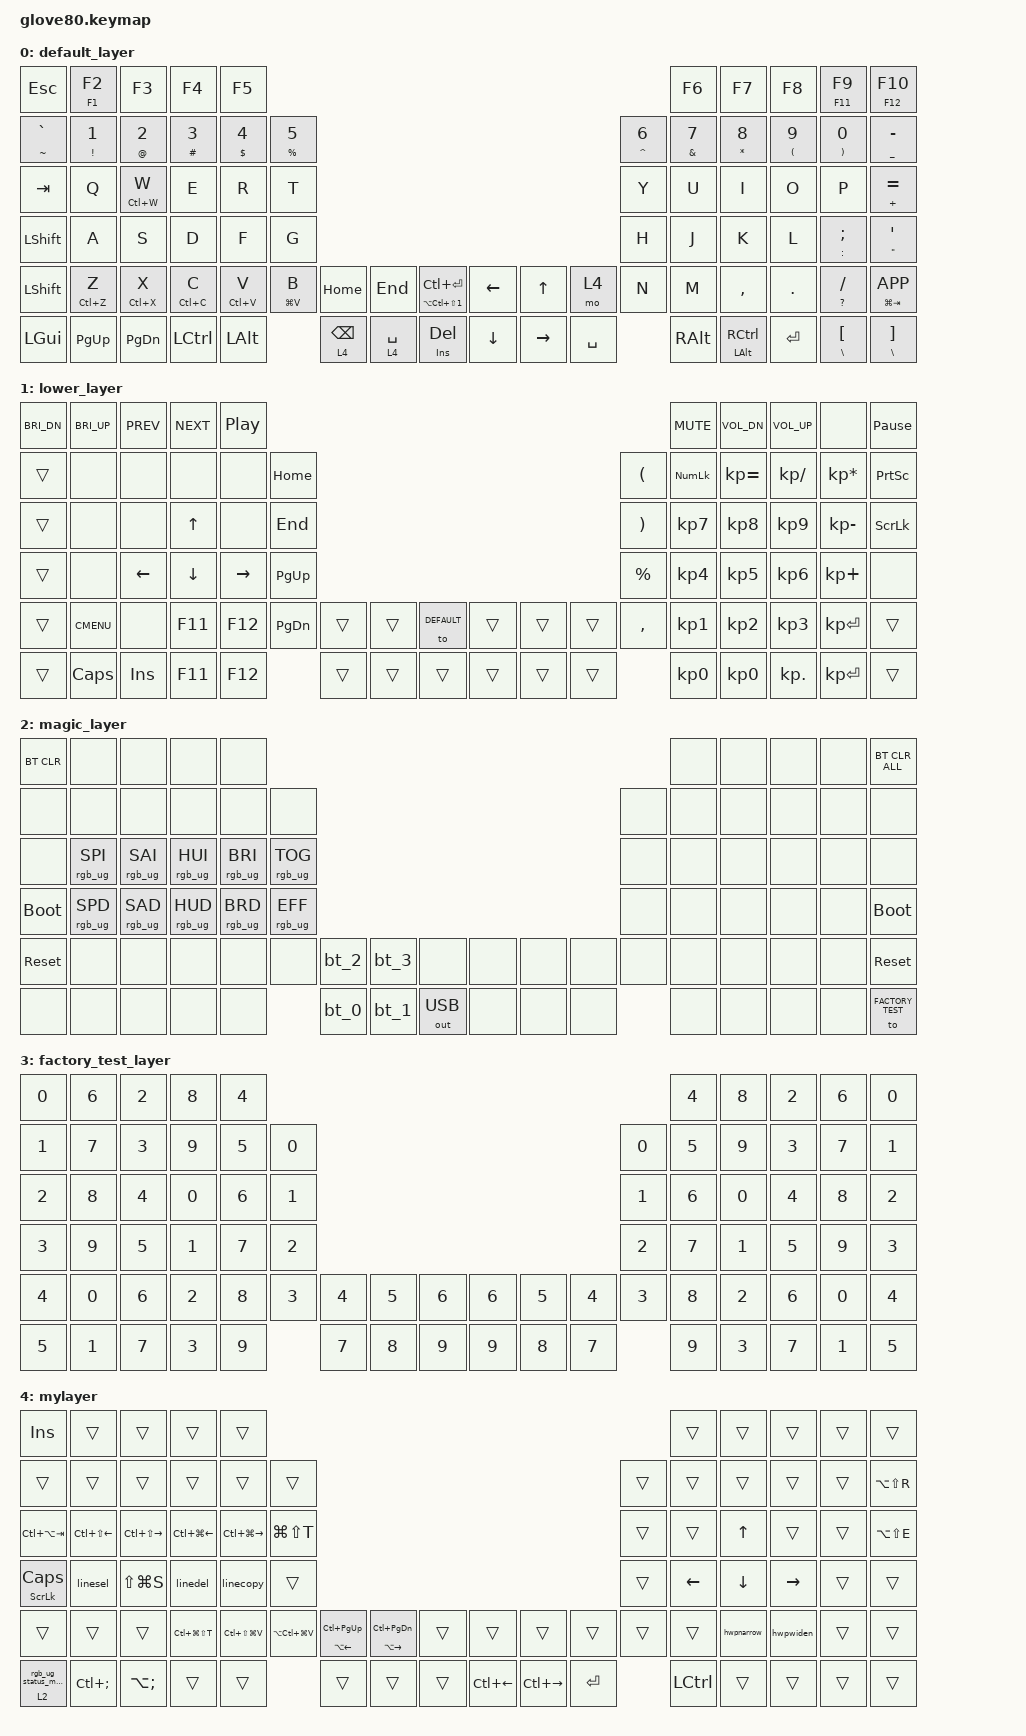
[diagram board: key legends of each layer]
/*
 * Copyright (c) 2020 The ZMK Contributors
 *
 * SPDX-License-Identifier: MIT
 */

#include <behaviors.dtsi>
#include <dt-bindings/zmk/bt.h>
#include <dt-bindings/zmk/keys.h>
#include <dt-bindings/zmk/outputs.h>
#include <dt-bindings/zmk/rgb.h>

#define HYPER LC(LS(LG(LALT)))

// layers

#define DEFAULT 0
#define LOWER 1
#define MAGIC 2
#define FACTORY_TEST 3

&lt {
    tapping-term-ms = <150>;
    quick-tap-ms = <200>;
    flavor = "balanced";
};

/ {
    behaviors {
        // For the "layer" key, it'd nice to be able to use it as either a shift or a toggle.
        // Configure it as a tap dance, so the first tap (or hold) is a &mo and the second tap is a &to

        layer_td: tap_dance_0 {
            compatible = "zmk,behavior-tap-dance";
            label = "LAYER_TAP_DANCE";
            #binding-cells = <0>;
            tapping-term-ms = <200>;
            bindings = <&mo LOWER>, <&to LOWER>;
        };

        magic: magic_hold_tap {
            compatible = "zmk,behavior-hold-tap";
            label = "MAGIC_HOLD_TAP";
            #binding-cells = <2>;
            flavor = "tap-preferred";
            tapping-term-ms = <300>;
            bindings = <&mo>, <&rgb_ug_status_macro>;
        };

        hm: homerow_mods {
            compatible = "zmk,behavior-hold-tap";
            label = "HOMEROW_MODS";
            bindings = <&kp>, <&kp>;

            #binding-cells = <2>;
            tapping-term-ms = <250>;
            flavor = "tap-preferred";
            quick-tap-ms = <0>;
        };

        td_txtsel_l: td_txtsel_l {
            compatible = "zmk,behavior-tap-dance";
            label = "TD_TXTSEL_L";
            #binding-cells = <0>;
            bindings = <&kp LS(LC(LEFT))>, <&txtsel_l>;

            tapping-term-ms = <80>;
        };

        td_txtsel_r: td_txtsel_r {
            compatible = "zmk,behavior-tap-dance";
            label = "TD_TXTSEL_R";
            #binding-cells = <0>;
            bindings = <&kp LS(LC(RIGHT))>, <&txtsel_r>;

            tapping-term-ms = <80>;
        };

        td_scaps: td_scaps {
            compatible = "zmk,behavior-tap-dance";
            label = "TD_SCAPS";
            #binding-cells = <0>;
            tapping-term-ms = <200>;
            bindings = <&kp LSHIFT>, <&kp CAPSLOCK>;
        };
    };

    macros {
        rgb_ug_status_macro: rgb_ug_status_macro_0 {
            label = "RGB_UG_STATUS";
            compatible = "zmk,behavior-macro";
            #binding-cells = <0>;
            bindings = <&rgb_ug RGB_STATUS>;
        };

        bt_0: bt_profile_macro_0 {
            label = "BT_0";
            compatible = "zmk,behavior-macro";
            #binding-cells = <0>;
            bindings = <&out OUT_BLE &bt BT_SEL 0>;
        };

        bt_1: bt_profile_macro_1 {
            label = "BT_1";
            compatible = "zmk,behavior-macro";
            #binding-cells = <0>;
            bindings = <&out OUT_BLE &bt BT_SEL 1>;
        };

        bt_2: bt_profile_macro_2 {
            label = "BT_2";
            compatible = "zmk,behavior-macro";
            #binding-cells = <0>;
            bindings = <&out OUT_BLE &bt BT_SEL 2>;
        };

        bt_3: bt_profile_macro_3 {
            label = "BT_3";
            compatible = "zmk,behavior-macro";
            #binding-cells = <0>;
            bindings = <&out OUT_BLE &bt BT_SEL 3>;
        };

        linesel: linesel {
            compatible = "zmk,behavior-macro";
            #binding-cells = <0>;
            bindings = <&kp END &kp LS(HOME)>;
            label = "LINESEL";
        };

        linedel: linedel {
            compatible = "zmk,behavior-macro";
            #binding-cells = <0>;
            bindings = <&kp END &kp LS(HOME) &kp DELETE>;
            label = "LINEDEL";
        };

        linecopy: linecopy {
            compatible = "zmk,behavior-macro";
            #binding-cells = <0>;
            bindings = <&kp END &kp LS(HOME) &kp LC(C)>;
            label = "LINECOPY";
        };

        hwpnarrow: hwpnarrow {
            compatible = "zmk,behavior-macro";
            #binding-cells = <0>;
            bindings = <&kp LA(LS(N)) &kp LS(LA(J))>;
            label = "HWPNARROW";
        };

        hwpwiden: hwpwiden {
            compatible = "zmk,behavior-macro";
            #binding-cells = <0>;
            bindings = <&kp LA(LS(K)) &kp LS(LA(W))>;
            label = "HWPWIDEN";
        };

        txtsel_l: txtsel_l {
            compatible = "zmk,behavior-macro";
            #binding-cells = <0>;
            bindings = <&kp LC(RIGHT) &kp LS(LC(LEFT))>;
            label = "TXTSEL_L";
        };

        txtsel_r: txtsel_r {
            compatible = "zmk,behavior-macro";
            #binding-cells = <0>;
            bindings = <&kp LC(LEFT) &kp LS(LC(RIGHT))>;
            label = "TXTSEL_R";
        };
    };

    keymap {
        compatible = "zmk,keymap";

        default_layer {
            // ---------------------------------------------------------------------------------------------------------------------------------
            // |  F1   |  F2 |  F3 |  F4  |  F5  |                                                               |  F6   |  F7   |  F8  |   F9  |  F10 |
            // |  =    |  1  |  2  |  3   |  4   |  5   |                                                 |  6   |   7   |   8   |  9   |   0   |   -  |
            // |  TAB  |  Q  |  W  |  E   |  R   |  T   |                                                 |  Y   |   U   |   I   |  O   |   P   |   \  |
            // |  ESC  |  A  |  S  |  D   |  F   |  G   |                                                 |  H   |   J   |   K   |  L   |   ;   |   '  |
            // |   `   |  Z  |  X  |  C   |  V   |  B   | LSHFT | LCTRL | LOWER | | LGUI  | RCTRL | RSHFT |  N   |   M   |   ,   |  .   |   /   | PGUP |
            // | MAGIC | HOME| END | LEFT | RIGHT|      | BSPC  | DEL   | LALT  | | RALT  | RET   | SPACE |      |  UP   | DOWN  |  [   |   ]   | PGDN |

            bindings = <
&kp ESCAPE       &hm F1 F2    &kp F3          &kp F4       &kp F5                                                                                                                                      &kp F6            &kp F7           &kp F8                   &hm F11 F9                &hm F12 F10
&hm TILDE GRAVE  &hm EXCL N1  &hm AT_SIGN N2  &hm HASH N3  &hm DOLLAR N4  &hm PERCENT N5                                                                                                 &hm CARET N6  &hm AMPERSAND N7  &hm ASTERISK N8  &hm LEFT_PARENTHESIS N9  &hm RIGHT_PARENTHESIS N0  &hm UNDERSCORE MINUS
&kp TAB          &kp Q        &hm LC(W) W     &kp E        &kp R          &kp T                                                                                                          &kp Y         &kp U             &kp I            &kp O                    &kp P                     &hm PLUS EQUAL
&kp LSHIFT       &kp A        &kp S           &kp D        &kp F          &kp G                                                                                                          &kp H         &kp J             &kp K            &kp L                    &hm COLON SEMICOLON       &hm DOUBLE_QUOTES SQT
&kp LSHIFT       &hm LC(Z) Z  &hm LC(X) X     &hm LC(C) C  &hm LC(V) V    &hm LG(V) B     &kp HOME         &kp END      &hm LA(LC(LS(N1))) LC(ENTER)  &kp LEFT  &kp UP_ARROW  &mo 4      &kp N         &kp M             &kp COMMA        &kp DOT                  &hm QUESTION FSLH         &hm LG(TAB) K_APP
&kp LGUI         &kp PG_UP    &kp PG_DN       &kp LCTRL    &kp LALT                       &lt 4 BACKSPACE  &lt 4 SPACE  &hm INS DELETE                &kp DOWN  &kp RIGHT     &kp SPACE                &kp RIGHT_ALT     &hm LALT RCTRL   &kp ENTER                &hm BSLH LEFT_BRACKET     &hm BSLH RBKT
            >;
        };

        lower_layer {
            bindings = <
&kp C_BRI_DN  &kp C_BRI_UP  &kp C_PREV  &kp C_NEXT  &kp C_PP                                                                              &kp C_MUTE  &kp C_VOL_DN  &kp C_VOL_UP   &none            &kp PAUSE_BREAK
&trans        &none         &none       &none       &none      &kp HOME                                                        &kp LPAR   &kp KP_NUM  &kp KP_EQUAL  &kp KP_DIVIDE  &kp KP_MULTIPLY  &kp PSCRN
&trans        &none         &none       &kp UP      &none      &kp END                                                         &kp RPAR   &kp KP_N7   &kp KP_N8     &kp KP_N9      &kp KP_MINUS     &kp SLCK
&trans        &none         &kp LEFT    &kp DOWN    &kp RIGHT  &kp PG_UP                                                       &kp PRCNT  &kp KP_N4   &kp KP_N5     &kp KP_N6      &kp KP_PLUS      &none
&trans        &kp K_CMENU   &none       &kp F11     &kp F12    &kp PG_DN  &trans  &trans  &to DEFAULT  &trans  &trans  &trans  &kp COMMA  &kp KP_N1   &kp KP_N2     &kp KP_N3      &kp KP_ENTER     &trans
&trans        &kp CAPS      &kp INS     &kp F11     &kp F12               &trans  &trans  &trans       &trans  &trans  &trans             &kp KP_N0   &kp KP_N0     &kp KP_DOT     &kp KP_ENTER     &trans
            >;
        };

        magic_layer {
            bindings = <
&bt BT_CLR   &none            &none            &none            &none                                                                                     &none  &none  &none  &none  &bt BT_CLR_ALL
&none        &none            &none            &none            &none            &none                                                             &none  &none  &none  &none  &none  &none
&none        &rgb_ug RGB_SPI  &rgb_ug RGB_SAI  &rgb_ug RGB_HUI  &rgb_ug RGB_BRI  &rgb_ug RGB_TOG                                                   &none  &none  &none  &none  &none  &none
&bootloader  &rgb_ug RGB_SPD  &rgb_ug RGB_SAD  &rgb_ug RGB_HUD  &rgb_ug RGB_BRD  &rgb_ug RGB_EFF                                                   &none  &none  &none  &none  &none  &bootloader
&sys_reset   &none            &none            &none            &none            &none            &bt_2  &bt_3  &none         &none  &none  &none  &none  &none  &none  &none  &none  &sys_reset
&none        &none            &none            &none            &none                             &bt_0  &bt_1  &out OUT_USB  &none  &none  &none         &none  &none  &none  &none  &to FACTORY_TEST
            >;
        };

        factory_test_layer {
            bindings = <
&kp N0  &kp N6  &kp N2  &kp N8  &kp N4                                                                  &kp N4  &kp N8  &kp N2  &kp N6  &kp N0
&kp N1  &kp N7  &kp N3  &kp N9  &kp N5  &kp N0                                                  &kp N0  &kp N5  &kp N9  &kp N3  &kp N7  &kp N1
&kp N2  &kp N8  &kp N4  &kp N0  &kp N6  &kp N1                                                  &kp N1  &kp N6  &kp N0  &kp N4  &kp N8  &kp N2
&kp N3  &kp N9  &kp N5  &kp N1  &kp N7  &kp N2                                                  &kp N2  &kp N7  &kp N1  &kp N5  &kp N9  &kp N3
&kp N4  &kp N0  &kp N6  &kp N2  &kp N8  &kp N3  &kp N4  &kp N5  &kp N6  &kp N6  &kp N5  &kp N4  &kp N3  &kp N8  &kp N2  &kp N6  &kp N0  &kp N4
&kp N5  &kp N1  &kp N7  &kp N3  &kp N9          &kp N7  &kp N8  &kp N9  &kp N9  &kp N8  &kp N7          &kp N9  &kp N3  &kp N7  &kp N1  &kp N5
            >;
        };

        mylayer {
            bindings = <
&kp INS            &trans            &trans             &trans             &trans                                                                                                                                         &trans     &trans        &trans     &trans  &trans
&trans             &trans            &trans             &trans             &trans             &trans                                                                                                              &trans  &trans     &trans        &trans     &trans  &kp LA(LS(R))
&kp LC(LA(TAB))    &kp LC(LS(LEFT))  &kp LC(LS(RIGHT))  &kp LC(LG(LEFT))   &kp LC(LG(RIGHT))  &kp LG(LS(T))                                                                                                       &trans  &trans     &kp UP_ARROW  &trans     &trans  &kp LA(LS(E))
&hm SLCK CAPSLOCK  &linesel          &kp LS(LG(S))      &linedel           &linecopy          &trans                                                                                                              &trans  &kp LEFT   &kp DOWN      &kp RIGHT  &trans  &trans
&trans             &trans            &trans             &kp LC(LG(LS(T)))  &kp LC(LS(LG(V)))  &kp LA(LC(LG(V)))  &hm LA(LEFT) LC(PG_UP)  &hm LA(RIGHT) LC(PG_DN)  &trans  &trans        &trans         &trans     &trans  &trans     &hwpnarrow    &hwpwiden  &trans  &trans
&magic 2 0         &kp LC(SEMI)      &kp LA(SEMI)       &trans             &trans                                &trans                  &trans                   &trans  &kp LC(LEFT)  &kp LC(RIGHT)  &kp ENTER          &kp LCTRL  &trans        &trans     &trans  &trans
            >;
        };
    };
};
